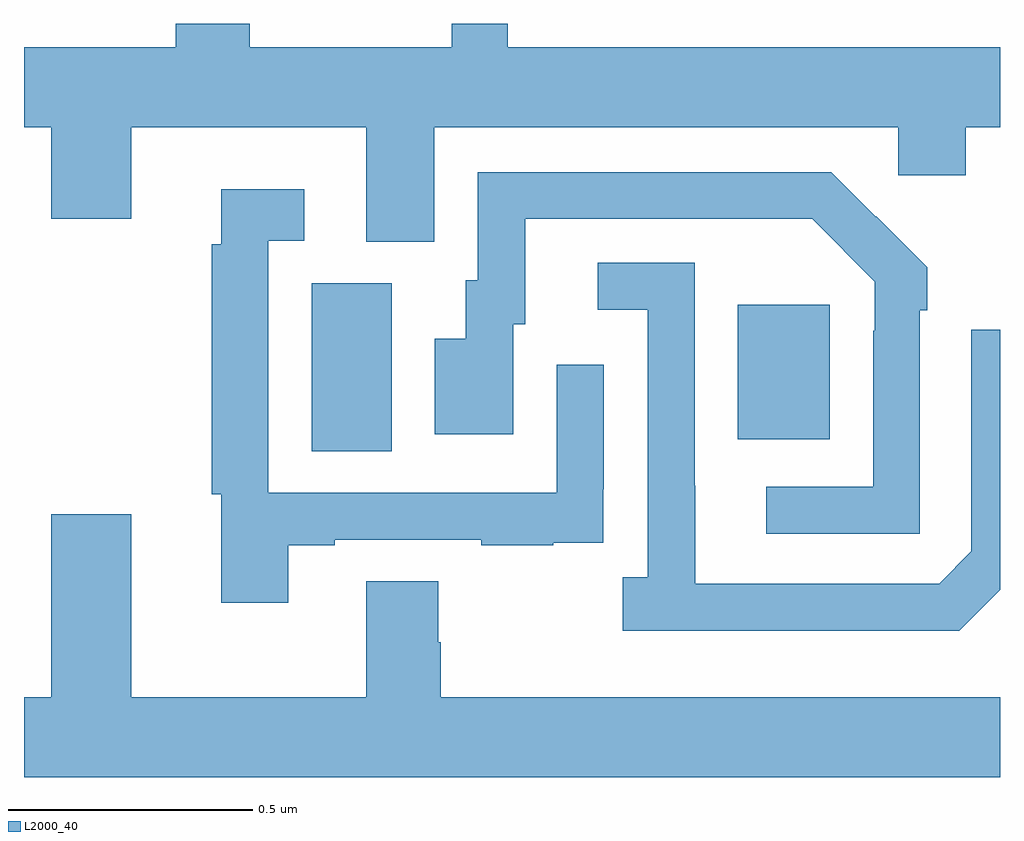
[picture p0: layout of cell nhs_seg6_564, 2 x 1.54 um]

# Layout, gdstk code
import gdstk
lib = gdstk.Library(unit=1e-6, precision=1e-09)
def R(c, l, rs):  # rectangles x0, y0, x1, y1
    for r in rs: c.add(gdstk.rectangle(r[:2], r[2:], *l))
def P(c, l, *ps):  # polygons
    for p in ps: c.add(gdstk.Polygon(p, *l))
L2000_40 = (2000, 40)

nhs_seg6_564 = lib.new_cell('nhs_seg6_564')
R(nhs_seg6_564, L2000_40, [(117.59,994.624,117.754,994.968), (118.463,994.649,118.651,994.924)])
P(nhs_seg6_564, L2000_40, [(117.841,995.288),(118.791,995.288),(118.791,995.19),(118.93,995.19),(118.93,995.288),(119,995.288),(119,995.452),(117.991,995.452),(117.991,995.5),(117.877,995.5),(117.877,995.452),(117.463,995.452),(117.463,995.5),(117.311,995.5),(117.311,995.452),(117,995.452),(117,995.288),(117.056,995.288),(117.056,995.1),(117.22,995.1),(117.22,995.288),(117.701,995.288),(117.701,995.053),(117.841,995.053)],
  [(118.836,994.913),(118.851,994.913),(118.851,995.001),(118.746,995.106),(118.745,995.105),(118.654,995.196),(117.93,995.196),(117.93,994.974),(117.905,994.974),(117.905,994.855),(117.842,994.855),(117.842,994.659),(118.003,994.659),(118.003,994.884),(118.027,994.884),(118.027,995.1),(118.615,995.1),(118.743,994.971),(118.743,994.871),(118.74,994.871),(118.74,994.551),(118.521,994.551),(118.521,994.455),(118.836,994.455)],
  [(117.541,994.431),(117.637,994.431),(117.637,994.443),(117.937,994.443),(117.937,994.431),(118.085,994.431),(118.085,994.437),(118.187,994.437),(118.187,994.546),(118.188,994.546),(118.188,994.801),(118.092,994.801),(118.092,994.539),(117.501,994.539),(117.501,995.055),(117.574,995.055),(117.574,995.161),(117.404,995.161),(117.404,995.048),(117.385,995.048),(117.385,994.536),(117.404,994.536),(117.404,994.314),(117.541,994.314)],
  [(119,994.34),(119,994.873),(118.941,994.873),(118.941,994.419),(118.875,994.353),(118.375,994.353),(118.375,994.553),(118.374,994.553),(118.374,995.01),(118.176,995.01),(118.176,994.914),(118.278,994.914),(118.278,994.366),(118.227,994.366),(118.227,994.256),(118.916,994.256)],
  [(119,994.12),(117.854,994.12),(117.854,994.233),(117.849,994.233),(117.849,994.358),(117.701,994.358),(117.701,994.12),(117.22,994.12),(117.22,994.495),(117.056,994.495),(117.056,994.12),(117,994.12),(117,993.956),(119,993.956)])

lib.write_gds('nhs_seg6_564.gds')
